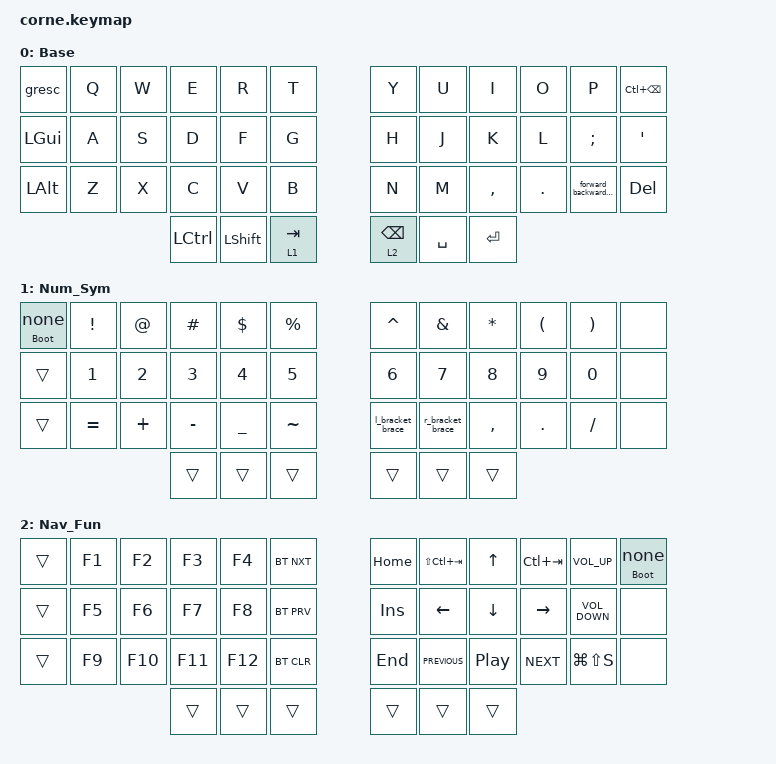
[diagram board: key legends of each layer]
/*
 * Copyright (c) 2020 The ZMK Contributors
 *
 * SPDX-License-Identifier: MIT
 */

#include <behaviors.dtsi>
#include <dt-bindings/zmk/bt.h>
#include <dt-bindings/zmk/keys.h>

&lt {
    quick-tap-ms = <200>;
    flavor = "balanced";
};

/ {
    behaviors {
        hold_boot: hold_boot {
            compatible = "zmk,behavior-hold-tap";
            label = "HOLD_BOOT";
            bindings = <&bootloader>, <&none>;

            #binding-cells = <2>;
            tapping-term-ms = <1000>;
            flavor = "tap-preferred";
        };

        forward_backward_slash: forward_backward_slash {
            compatible = "zmk,behavior-tap-dance";
            label = "FORWARD_BACKWARD_SLASH";
            #binding-cells = <0>;
            bindings = <&kp SLASH>, <&kp BACKSLASH>;

            tapping-term-ms = <150>;
        };

        l_bracket_brace: l_bracket_brace {
            compatible = "zmk,behavior-tap-dance";
            label = "L_BRACKET_BRACE";
            #binding-cells = <0>;
            bindings = <&kp LEFT_BRACKET>, <&kp LEFT_BRACE>;

            tapping-term-ms = <150>;
        };

        r_bracket_brace: r_bracket_brace {
            compatible = "zmk,behavior-tap-dance";
            label = "R_BRACKET_BRACE";
            #binding-cells = <0>;
            bindings = <&kp RIGHT_BRACKET>, <&kp RIGHT_BRACE>;

            tapping-term-ms = <150>;
        };
    };

    keymap {
        compatible = "zmk,keymap";

        base_layer {
            // -----------------------------------------------------------------------------------------
            // |  TAB |  Q  |  W  |  E  |  R  |  T  |   |  Y  |  U   |  I  |  O  |  P  | BKSP |
            // | CTRL |  A  |  S  |  D  |  F  |  G  |   |  H  |  J   |  K  |  L  |  ;  |  '   |
            // | SHFT |  Z  |  X  |  C  |  V  |  B  |   |  N  |  M   |  ,  |  .  |  /  | ESC  |
            //                    | GUI | LWR | SPC |   | ENT | RSE  | ALT |

            display-name = "Base";
            bindings = <
&gresc        &kp Q  &kp W  &kp E      &kp R           &kp T        &kp Y            &kp U      &kp I      &kp O    &kp P                    &kp LC(BSPC)
&kp LEFT_GUI  &kp A  &kp S  &kp D      &kp F           &kp G        &kp H            &kp J      &kp K      &kp L    &kp SEMI                 &kp SQT
&kp LEFT_ALT  &kp Z  &kp X  &kp C      &kp V           &kp B        &kp N            &kp M      &kp COMMA  &kp DOT  &forward_backward_slash  &kp DELETE
                            &kp LCTRL  &kp LEFT_SHIFT  &lt 1 TAB    &lt 2 BACKSPACE  &kp SPACE  &kp RET
            >;
        };

        num_sym_layer {
            // -----------------------------------------------------------------------------------------
            // |  TAB |  1  |  2  |  3  |  4  |  5  |   |  6  |  7  |  8  |  9  |  0  | BKSP |
            // | BTCLR| BT1 | BT2 | BT3 | BT4 | BT5 |   | LFT | DWN |  UP | RGT |     |      |
            // | SHFT |     |     |     |     |     |   |     |     |     |     |     |      |
            //                    | GUI |     | SPC |   | ENT |     | ALT |

            display-name = "Num_Sym";
            bindings = <
&hold_boot 0 0  &kp EXCLAMATION  &kp AT    &kp HASH   &kp DOLLAR      &kp PERCENT    &kp CARET         &kp AMPERSAND     &kp ASTERISK  &kp LEFT_PARENTHESIS  &kp RIGHT_PARENTHESIS  &none
&trans          &kp N1           &kp N2    &kp N3     &kp N4          &kp N5         &kp N6            &kp N7            &kp N8        &kp N9                &kp N0                 &none
&trans          &kp EQUAL        &kp PLUS  &kp MINUS  &kp UNDERSCORE  &kp TILDE      &l_bracket_brace  &r_bracket_brace  &kp COMMA     &kp PERIOD            &kp SLASH              &none
                                           &trans     &trans          &trans         &trans            &trans            &trans
            >;

            label = "Num_Sym";
        };

        nav_fun_layer {
            // -----------------------------------------------------------------------------------------
            // |  TAB |  !  |  @  |  #  |  $  |  %  |   |  ^  |  &  |  *  |  (  |  )  | BKSP |
            // | CTRL |     |     |     |     |     |   |  -  |  =  |  [  |  ]  |  \  |  `   |
            // | SHFT |     |     |     |     |     |   |  _  |  +  |  {  |  }  | "|" |  ~   |
            //                    | GUI |     | SPC |   | ENT |     | ALT |

            display-name = "Nav_Fun";
            bindings = <
&trans  &kp F1  &kp F2   &kp F3   &kp F4   &bt BT_NXT    &kp HOME    &kp LS(LC(TAB))  &kp UP_ARROW      &kp LC(TAB)  &kp C_VOLUME_UP    &hold_boot 0 0
&trans  &kp F5  &kp F6   &kp F7   &kp F8   &bt BT_PRV    &kp INSERT  &kp LEFT         &kp DOWN          &kp RIGHT    &kp C_VOLUME_DOWN  &none
&trans  &kp F9  &kp F10  &kp F11  &kp F12  &bt BT_CLR    &kp END     &kp C_PREVIOUS   &kp C_PLAY_PAUSE  &kp C_NEXT   &kp LG(LS(S))      &none
                         &trans   &trans   &trans        &trans      &trans           &trans
            >;

            label = "Nav_Fun";
        };
    };

    conditional_layers {
        compatible = "zmk,conditional-layers";

        adjust_layer {
            if-layers = <1 2>;
            then-layer = <3>;
        };
    };
};
